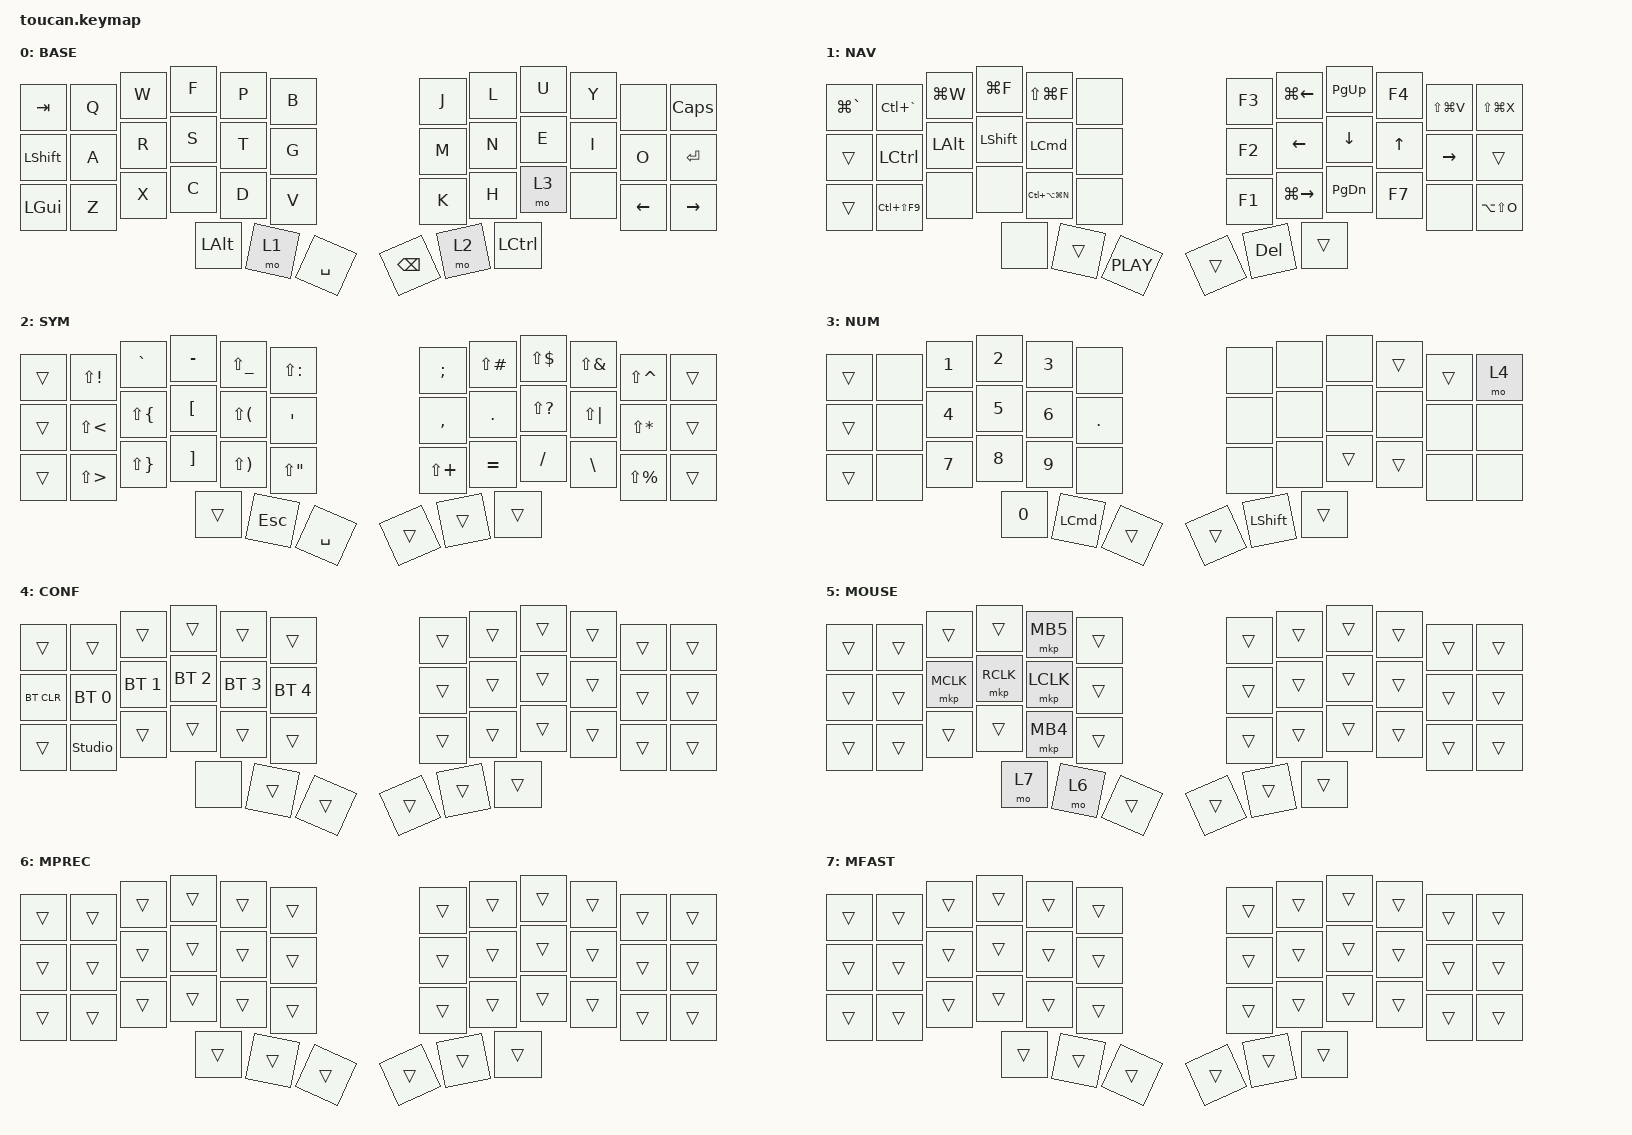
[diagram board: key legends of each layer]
#include <behaviors.dtsi>
#include <dt-bindings/zmk/bt.h>
#include <dt-bindings/zmk/keys.h>
#include <dt-bindings/zmk/pointing.h>

#define BASE 0
#define NAV  1
#define SYM  2
#define ADJ  3
#define CONF     4
#define MOUSE    5
#define SPD_SLOW 6
#define SPD_FAST 7

/ {
    conditional_layers { compatible = "zmk,conditional-layers"; };

    behaviors {
        // Cycle trackpad speed presets by tap count:
        //   1 tap  -> 0.5x  (spd_slow)
        //   2 taps -> 0.75x (base, no speed layer)
        //   3 taps -> 1.0x  (spd_fast)
    };

    keymap {
        compatible = "zmk,keymap";

        base {
            display-name = "BASE";
            bindings = <
&kp TAB  &kp Q  &kp W  &kp F  &kp P  &kp B  &kp J  &kp L  &kp U  &kp Y  &none  &kp CAPS  &kp LSHFT  &kp A  &kp R  &kp S  &kp T  &kp G  &kp M  &kp N  &kp E  &kp I  &kp O  &kp RET  &kp LGUI  &kp Z  &kp X  &kp C  &kp D  &kp V  &kp K  &kp H  &mo 3  &none  &kp LEFT  &kp RIGHT  &kp LEFT_ALT  &mo 1  &kp SPACE  &kp BSPC  &mo 2  &kp LEFT_CONTROL
            >;
        };

        nav {
            display-name = "NAV";
            bindings = <
&kp LG(GRAVE)  &kp LC(GRAVE)  &kp LG(W)  &kp LG(F)  &kp LS(LG(F))  &none  &kp F3  &kp LG(LEFT_ARROW)  &kp PAGE_UP  &kp F4  &kp LS(LG(V))  &kp LS(LG(X))  &trans  &kp LCTRL  &kp LEFT_ALT  &kp LEFT_SHIFT  &kp LCMD  &none  &kp F2  &kp LEFT  &kp DOWN_ARROW  &kp UP_ARROW  &kp RIGHT_ARROW  &trans  &trans  &kp LC(LS(F9))  &none  &none  &kp LC(LA(LG(N)))  &none  &kp F1  &kp LG(RIGHT_ARROW)  &kp PAGE_DOWN  &kp F7  &none  &kp LA(LS(O))  &none  &trans  &kp C_PLAY  &trans  &kp DELETE  &trans
            >;
        };

        sym {
            display-name = "SYM";
            bindings = <
&trans  &kp LS(EXCL)  &kp GRAVE  &kp MINUS  &kp LS(UNDER)  &kp LS(COLON)  &kp SEMI  &kp LS(POUND)  &kp LS(DLLR)  &kp LS(AMPS)  &kp LS(CARET)  &trans  &trans  &kp LS(LT)  &kp LS(LBRC)  &kp LBKT  &kp LS(LPAR)  &kp SQT  &kp COMMA  &kp DOT  &kp LS(QMARK)  &kp LS(PIPE)  &kp LS(STAR)  &trans  &trans  &kp LS(GT)  &kp LS(RBRC)  &kp RBKT  &kp LS(RPAR)  &kp LS(DQT)  &kp LS(PLUS)  &kp EQUAL  &kp FSLH  &kp BSLH  &kp LS(PRCNT)  &trans  &trans  &kp ESCAPE  &kp SPACE  &trans  &trans  &trans
            >;
        };

        num {
            display-name = "NUM";
            bindings = <
&trans  &none  &kp N1  &kp N2  &kp N3  &none  &none  &none  &none  &trans  &trans  &mo 4  &trans  &none  &kp N4  &kp N5  &kp N6  &kp DOT  &none  &none  &none  &none  &none  &none  &trans  &none  &kp N7  &kp N8  &kp N9  &none  &none  &none  &trans  &trans  &none  &none  &kp N0  &kp LEFT_COMMAND  &trans  &trans  &kp LEFT_SHIFT  &trans
            >;
        };

        conf {
            display-name = "CONF";
            bindings = <
&trans  &trans  &trans  &trans  &trans  &trans  &trans  &trans  &trans  &trans  &trans  &trans  &bt BT_CLR  &bt BT_SEL 0  &bt BT_SEL 1  &bt BT_SEL 2  &bt BT_SEL 3  &bt BT_SEL 4  &trans  &trans  &trans  &trans  &trans  &trans  &trans  &studio_unlock  &trans  &trans  &trans  &trans  &trans  &trans  &trans  &trans  &trans  &trans  &none  &trans  &trans  &trans  &trans  &trans
            >;
        };

        mouse {
            bindings = <
&trans  &trans  &trans  &trans  &mkp MB5  &trans  &trans  &trans  &trans  &trans  &trans  &trans  &trans  &trans  &mkp MCLK  &mkp RCLK  &mkp LCLK  &trans  &trans  &trans  &trans  &trans  &trans  &trans  &trans  &trans  &trans  &trans  &mkp MB4  &trans  &trans  &trans  &trans  &trans  &trans  &trans  &mo 7  &mo 6  &trans  &trans  &trans  &trans
            >;

            label = "MOUSE";
        };

        spd_slow {
            display-name = "MPREC";
            bindings = <
&trans  &trans  &trans  &trans  &trans  &trans  &trans  &trans  &trans  &trans  &trans  &trans  &trans  &trans  &trans  &trans  &trans  &trans  &trans  &trans  &trans  &trans  &trans  &trans  &trans  &trans  &trans  &trans  &trans  &trans  &trans  &trans  &trans  &trans  &trans  &trans  &trans  &trans  &trans  &trans  &trans  &trans
            >;
        };

        spd_fast {
            display-name = "MFAST";
            bindings = <
&trans  &trans  &trans  &trans  &trans  &trans  &trans  &trans  &trans  &trans  &trans  &trans  &trans  &trans  &trans  &trans  &trans  &trans  &trans  &trans  &trans  &trans  &trans  &trans  &trans  &trans  &trans  &trans  &trans  &trans  &trans  &trans  &trans  &trans  &trans  &trans  &trans  &trans  &trans  &trans  &trans  &trans
            >;
        };
    };
};
